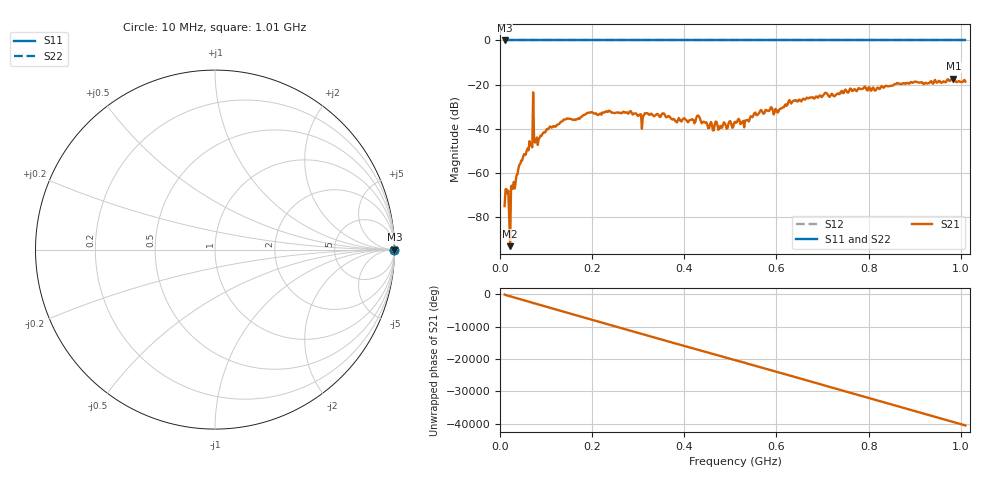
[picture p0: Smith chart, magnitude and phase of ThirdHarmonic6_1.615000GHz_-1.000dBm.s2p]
! 8/16/2025 7:16:55 PM
! C:\ANRITSUVNA\TEMP\TEMP.S2P
! CHANNEL.1
! TR.MEASUREMENT
! RAW.DATA
! RF.CORRECTION.OFF
! AVERAGING.OFF
! IF.BANDWIDTH: 5KHZ
! SWEEPTYPE:  FREQ.SWEEP(Linear)
! Reference Plane Port Info
! PORT:  PORT1  PORT2
! DISTANCE:  0  m  0  m
! TIME:  0  s  0  s
! PHASE.OFFSET:  0  deg.  0  deg.
! LOSS:  0  dB  0  dB
! REF.LOSS:  0  dB  0  dB
! REF.FREQ:  0  Hz  0  Hz
! Power Info
! POWER:  -20  dBm  -20  dBm
! EFF.POWER:  -20  dBm  -20  dBm
! SOURCE.ATTEN:  0  dB  0  dB
! TEST.ATTEN:  0  dB  0  dB
# GHZ S RI R 50.0
! FREQ.GHZ  S11RE  S11IM  S21RE  S21IM  S12RE  S12IM  S22RE  S22IM
!; PortSelection: Port_12
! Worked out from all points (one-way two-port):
!   501 points, 10 MHz to 1.01 GHz, reference 50 ohm
!   highest |S21| = -17.29 dB at 984 MHz (marker M1); lowest = -93.1 dB at 22 MHz (marker M2)
!   lowest |S11| = 0.0 dB at 10 MHz (marker M3)
!   |S11| at or under -10 dB: nowhere
!   |S22| runs from 0.0 to 0.0 dB; largest |S21 - S12| = 1.1
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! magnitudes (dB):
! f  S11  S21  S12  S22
! 10 MHz  0.0  -75.0  0.0  0.0
! 14 MHz  0.0  -67.3  0.0  0.0
! 18 MHz  0.0  -68.0  0.0  0.0
! 22 MHz  0.0  -93.1  0.0  0.0
! 44 MHz  0.0  -55.8  0.0  0.0
! 66 MHz  0.0  -47.4  0.0  0.0
! 68 MHz  0.0  -47.3  0.0  0.0
! 76 MHz  0.0  -46.2  0.0  0.0
! 78 MHz  0.0  -45.6  0.0  0.0
! 106 MHz  0.0  -39.8  0.0  0.0
! 178 MHz  0.0  -34.4  0.0  0.0
! 234 MHz  0.0  -32.3  0.0  0.0
! 308 MHz  0.0  -40.0  0.0  0.0
! 344 MHz  0.0  -33.6  0.0  0.0
! 382 MHz  0.0  -36.8  0.0  0.0
! 430 MHz  0.0  -34.0  0.0  0.0
! 478 MHz  0.0  -38.7  0.0  0.0
! 510 MHz  0.0  -36.8  0.0  0.0
! 678 MHz  0.0  -25.7  0.0  0.0
! 844 MHz  0.0  -20.7  0.0  0.0
! 984 MHz  0.0  -17.3  0.0  0.0
! 1.01 GHz  0.0  -18.6  0.0  0.0
